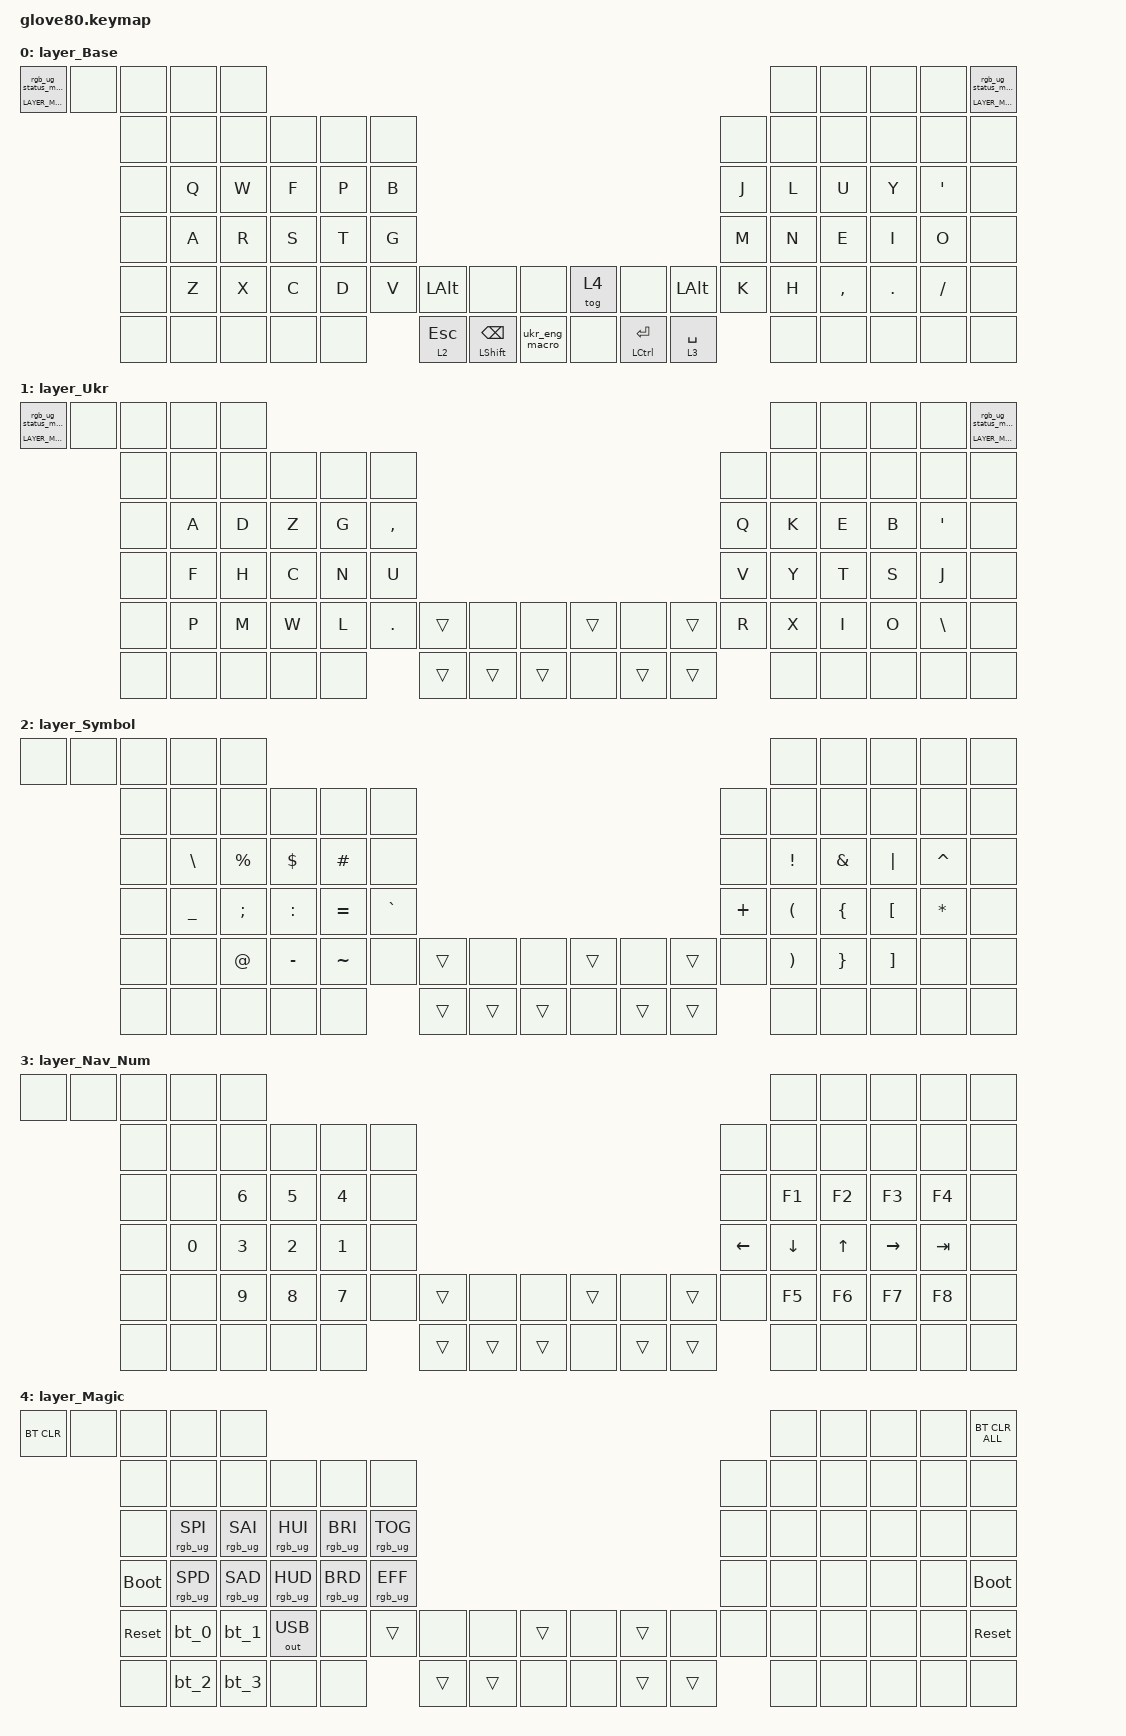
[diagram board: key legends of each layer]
#include <behaviors.dtsi>
/* Include all behaviour includes needed */
#include <dt-bindings/zmk/outputs.h>
#include <dt-bindings/zmk/keys.h>
#include <dt-bindings/zmk/bt.h>
#include <dt-bindings/zmk/rgb.h>

#define LAYER_Base 0
#define LAYER_Ukr 1
#define LAYER_Symbol 2
#define LAYER_Nav_Num 3
#define LAYER_Magic 4

&mt {
   tapping-term-ms = <35>;
   retro-tap;
   flavor = "tap-preferred";
};

&lt {
   tapping-term-ms = <35>;
   retro-tap;
   flavor = "tap-preferred";
   require-prior-idle-ms = <125>;
};

/ {
    macros {
        rgb_ug_status_macro: rgb_ug_status_macro {
            label = "RGB_UG_STATUS";
            compatible = "zmk,behavior-macro";
            #binding-cells = <0>;
            bindings
                = <&rgb_ug RGB_STATUS>;
        };
        ukr_eng_macro: ukr_eng_macro {
            label = "UKR_ENG";
            compatible = "zmk,behavior-macro";
            wait-ms = <0>;
            tap-ms = <0>;
            #binding-cells = <0>; 
            bindings = 
                <&macro_press &tog 1 &kp LSHIFT>,
                <&macro_tap &kp LALT>,
                <&macro_pause_for_release>,
                <&macro_release &tog 1 &kp LSHIFT>;
        };
    };
};


/ {
#ifdef BT_DISC_CMD
    behaviors {
        bt_0: bt_0 {
            compatible = "zmk,behavior-tap-dance";
            label = "BT_0";
            #binding-cells = <0>;
            tapping-term-ms = <200>;
            bindings = <&bt_select_0>, <&bt BT_DISC 0>;
        };
        bt_1: bt_1 {
            compatible = "zmk,behavior-tap-dance";
            label = "BT_1";
            #binding-cells = <0>;
            tapping-term-ms = <200>;
            bindings = <&bt_select_1>, <&bt BT_DISC 1>;
        };
        bt_2: bt_2 {
            compatible = "zmk,behavior-tap-dance";
            label = "BT_2";
            #binding-cells = <0>;
            tapping-term-ms = <200>;
            bindings = <&bt_select_2>, <&bt BT_DISC 2>;
        };
        bt_3: bt_3 {
            compatible = "zmk,behavior-tap-dance";
            label = "BT_3";
            #binding-cells = <0>;
            tapping-term-ms = <200>;
            bindings = <&bt_select_3>, <&bt BT_DISC 3>;
        };
    };
    macros {
        bt_select_0: bt_select_0 {
            label = "BT_SELECT_0";
            compatible = "zmk,behavior-macro";
            #binding-cells = <0>;
            bindings
                = <&out OUT_BLE>,
                  <&bt BT_SEL 0>;
        };
        bt_select_1: bt_select_1 {
            label = "BT_SELECT_1";
            compatible = "zmk,behavior-macro";
            #binding-cells = <0>;
            bindings
                = <&out OUT_BLE>,
                  <&bt BT_SEL 1>;
        };
        bt_select_2: bt_select_2 {
            label = "BT_SELECT_2";
            compatible = "zmk,behavior-macro";
            #binding-cells = <0>;
            bindings
                = <&out OUT_BLE>,
                  <&bt BT_SEL 2>;
        };
        bt_select_3: bt_select_3 {
            label = "BT_SELECT_3";
            compatible = "zmk,behavior-macro";
            #binding-cells = <0>;
            bindings
                = <&out OUT_BLE>,
                  <&bt BT_SEL 3>;
        };
    };
#else
    macros {
        bt_0: bt_0 {
            label = "BT_0";
            compatible = "zmk,behavior-macro";
            #binding-cells = <0>;
            bindings
                = <&out OUT_BLE>,
                  <&bt BT_SEL 0>;
        };
        bt_1: bt_1 {
            label = "BT_1";
            compatible = "zmk,behavior-macro";
            #binding-cells = <0>;
            bindings
                = <&out OUT_BLE>,
                  <&bt BT_SEL 1>;
        };
        bt_2: bt_2 {
            label = "BT_2";
            compatible = "zmk,behavior-macro";
            #binding-cells = <0>;
            bindings
                = <&out OUT_BLE>,
                  <&bt BT_SEL 2>;
        };
        bt_3: bt_3 {
            label = "BT_3";
            compatible = "zmk,behavior-macro";
            #binding-cells = <0>;
            bindings
                = <&out OUT_BLE>,
                  <&bt BT_SEL 3>;
        };
    };
#endif
};

/ {
    behaviors {
        magic: magic {
            compatible = "zmk,behavior-hold-tap";
            label = "MAGIC_HOLD_TAP";
            #binding-cells = <2>;
            flavor = "tap-preferred";
            tapping-term-ms = <200>;
            bindings = <&mo>, <&rgb_ug_status_macro>;
        };
    };
};

#define POS_LH_T1 52
#define POS_LH_T2 53
#define POS_LH_T3 54
#define POS_LH_T4 69
#define POS_LH_T5 70
#define POS_LH_T6 71
#define POS_LH_C1R2 15
#define POS_LH_C1R3 27
#define POS_LH_C1R4 39
#define POS_LH_C1R5 51
#define POS_LH_C2R1 4
#define POS_LH_C2R2 14
#define POS_LH_C2R3 26
#define POS_LH_C2R4 38
#define POS_LH_C2R5 50
#define POS_LH_C2R6 68
#define POS_LH_C3R1 3
#define POS_LH_C3R2 13
#define POS_LH_C3R3 25
#define POS_LH_C3R4 37
#define POS_LH_C3R5 49
#define POS_LH_C3R6 67
#define POS_LH_C4R1 2
#define POS_LH_C4R2 12
#define POS_LH_C4R3 24
#define POS_LH_C4R4 36
#define POS_LH_C4R5 48
#define POS_LH_C4R6 66
#define POS_LH_C5R1 1
#define POS_LH_C5R2 11
#define POS_LH_C5R3 23
#define POS_LH_C5R4 35
#define POS_LH_C5R5 47
#define POS_LH_C5R6 65
#define POS_LH_C6R1 0
#define POS_LH_C6R2 10
#define POS_LH_C6R3 22
#define POS_LH_C6R4 34
#define POS_LH_C6R5 46
#define POS_LH_C6R6 64
#define POS_RH_T1 57
#define POS_RH_T2 56
#define POS_RH_T3 55
#define POS_RH_T4 74
#define POS_RH_T5 73
#define POS_RH_T6 72
#define POS_RH_C1R2 16
#define POS_RH_C1R3 28
#define POS_RH_C1R4 40
#define POS_RH_C1R5 58
#define POS_RH_C2R1 5
#define POS_RH_C2R2 17
#define POS_RH_C2R3 29
#define POS_RH_C2R4 41
#define POS_RH_C2R5 59
#define POS_RH_C2R6 75
#define POS_RH_C3R1 6
#define POS_RH_C3R2 18
#define POS_RH_C3R3 30
#define POS_RH_C3R4 42
#define POS_RH_C3R5 60
#define POS_RH_C3R6 76
#define POS_RH_C4R1 7
#define POS_RH_C4R2 19
#define POS_RH_C4R3 31
#define POS_RH_C4R4 43
#define POS_RH_C4R5 61
#define POS_RH_C4R6 77
#define POS_RH_C5R1 8
#define POS_RH_C5R2 20
#define POS_RH_C5R3 32
#define POS_RH_C5R4 44
#define POS_RH_C5R5 62
#define POS_RH_C5R6 78
#define POS_RH_C6R1 9
#define POS_RH_C6R2 21
#define POS_RH_C6R3 33
#define POS_RH_C6R4 45
#define POS_RH_C6R5 63
#define POS_RH_C6R6 79


/ {
    keymap {
        compatible = "zmk,keymap";


        layer_Base {
            bindings = <
 &magic LAYER_Magic 0   &none   &none   &none   &none                                                                                                             &none      &none      &none     &none      &magic LAYER_Magic 0
                &none   &none   &none   &none   &none   &none                                                                                             &none   &none      &none      &none     &none      &none
                &none   &kp Q   &kp W   &kp F   &kp P   &kp B                                                                                             &kp J   &kp L      &kp U      &kp Y     &kp SQT    &none
                &none   &kp A   &kp R   &kp S   &kp T   &kp G                                                                                             &kp M   &kp N      &kp E      &kp I     &kp O      &none
                &none   &kp Z   &kp X   &kp C   &kp D   &kp V  &kp LALT   &none            &none            &tog 4  &none            &kp LALT             &kp K   &kp H      &kp COMMA  &kp DOT   &kp FSLH   &none
                &none   &none   &none   &none   &none          &lt 2 ESC  &mt LSHFT BSPC   &ukr_eng_macro   &none   &mt LCTRL RET    &lt 3 SPACE                  &none      &none      &none     &none      &none
            >;
        };

        layer_Ukr {
            bindings = <
 &magic LAYER_Magic 0   &none   &none   &none   &none                                                                                             &none      &none      &none     &none  &magic LAYER_Magic 0
                &none   &none   &none   &none   &none   &none                                                                             &none   &none      &none      &none     &none                 &none
                &none   &kp A   &kp D   &kp Z   &kp G   &kp COMMA                                                                         &kp Q   &kp K      &kp E      &kp B     &kp SQT               &none
                &none   &kp F   &kp H   &kp C   &kp N   &kp U                                                                             &kp V   &kp Y      &kp T      &kp S     &kp J                 &none
                &none   &kp P   &kp M   &kp W   &kp L   &kp DOT  &trans  &none    &none    &trans  &none     &trans                       &kp R   &kp X      &kp I      &kp O     &kp BSLH              &none
                &none   &none   &none   &none   &none            &trans  &trans   &trans   &none   &trans    &trans                               &none      &none      &none     &none                 &none
            >;
        };

        layer_Symbol {
            bindings = <
  &none      &none      &none      &none      &none                                                                            &none     &none     &none      &none   &none
  &none      &none      &none      &none      &none    &none                                                         &none     &none     &none     &none      &none   &none
  &none   &kp BSLH  &kp PRCNT   &kp DLLR   &kp HASH    &none                                                         &none     &kp EXCL  &kp AMPS  &kp PIPE   &kp CARET   &none
  &none  &kp UNDER  &kp SEMI   &kp COLON  &kp EQUAL    &kp GRAVE                                                     &kp PLUS  &kp LPAR  &kp LBRC  &kp LBKT   &kp STAR   &none
  &none      &none  &kp AT     &kp MINUS  &kp TILDE    &none  &trans  &none    &none     &trans  &none   &trans      &none     &kp RPAR  &kp RBRC  &kp RBKT   &none   &none
  &none      &none      &none      &none      &none           &trans  &trans   &trans    &none   &trans  &trans                &none     &none     &none      &none   &none
            >;
        };

        layer_Nav_Num {
            bindings = <
  &none   &none   &none   &none   &none                                                                                    &none     &none      &none     &none   &none
  &none   &none   &none   &none   &none   &none                                                                  &none     &none     &none      &none     &none   &none
  &none   &none  &kp N6  &kp N5  &kp N4   &none                                                                  &none     &kp F1    &kp F2     &kp F3    &kp F4  &none
  &none  &kp N0  &kp N3  &kp N2  &kp N1   &none                                                                  &kp LEFT  &kp DOWN  &kp UP     &kp RIGHT &kp TAB &none
  &none   &none  &kp N9  &kp N8  &kp N7   &none  &trans  &none    &none         &trans  &none     &trans         &none     &kp F5    &kp F6     &kp F7    &kp F8  &none
  &none   &none   &none   &none   &none          &trans  &trans   &trans        &none   &trans    &trans                   &none     &none      &none     &none   &none
            >;
        };

        layer_Magic {
            bindings = <
  &bt BT_CLR            &none            &none            &none            &none                                                                                  &none   &none   &none   &none  &bt BT_CLR_ALL
       &none            &none            &none            &none            &none            &none                                                         &none   &none   &none   &none   &none           &none
       &none  &rgb_ug RGB_SPI  &rgb_ug RGB_SAI  &rgb_ug RGB_HUI  &rgb_ug RGB_BRI  &rgb_ug RGB_TOG                                                         &none   &none   &none   &none   &none           &none
 &bootloader  &rgb_ug RGB_SPD  &rgb_ug RGB_SAD  &rgb_ug RGB_HUD  &rgb_ug RGB_BRD  &rgb_ug RGB_EFF                                                         &none   &none   &none   &none   &none     &bootloader
  &sys_reset            &bt_0            &bt_1            &out OUT_USB            &none            &trans   &none   &none       &trans   &none   &trans   &none   &none   &none   &none   &none   &none      &sys_reset
       &none            &bt_2            &bt_3            &none            &none                   &trans   &trans  &none       &none   &trans   &trans           &none   &none   &none   &none           &none
            >;
        };

    };
};

